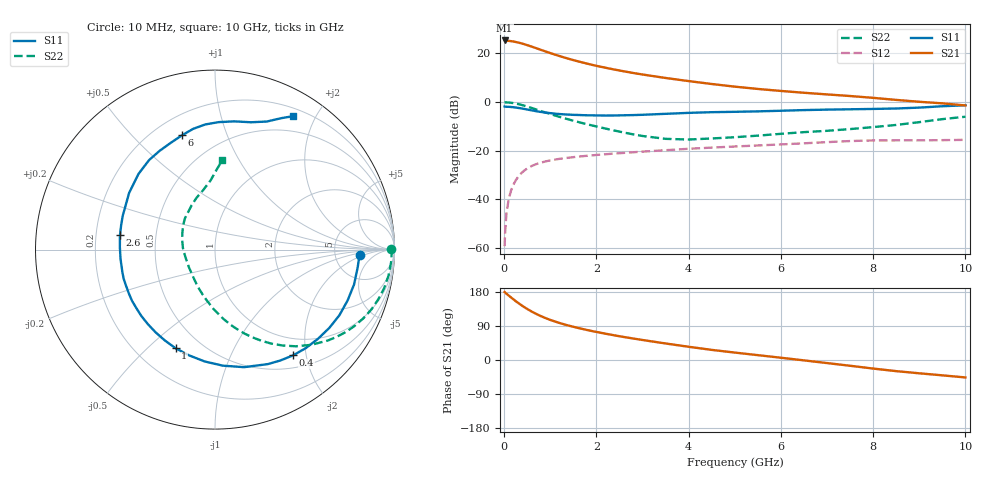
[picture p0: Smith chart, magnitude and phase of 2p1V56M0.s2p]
! (c) 2009  Infineon Technologies AG, Munich
! Infineon Technologies  Discrete & RF Semiconductors
! BFP420
! VCE =  1.5 V,  IC =  6.0 mA
! Common Emitter S-Parameters:  Nov 2009
# GHz  S  MA  R  50
!  f  S11  S21  S12  S22
! GHz  MAG  ANG  MAG  ANG  MAG  ANG  MAG  ANG
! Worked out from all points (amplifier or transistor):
!   46 points, 10 MHz to 10 GHz, reference 50 ohm
!   highest |S21| = 25.3 dB at 10 MHz (marker M1)
!   |S21| within 3 dB of that: start of sweep to 668.5 MHz
!   unconditionally stable (mu >= 1): 2.786 GHz to end of sweep
!   at 300 MHz: K = 0.12, MSG = 27.6 dB, |S12| = -30.8 dB
!   at 1.7 GHz: K = 0.66, MSG = 19.2 dB, |S12| = -22.2 dB
!   at 10 GHz: K = 1.11, MAG = 5.1 dB, |S12| = -15.5 dB
!   lowest NFmin = 0.70 dB at 900 MHz
!   S11 on the Smith chart (normalised r, x): 10 MHz: 9.18, -1.73; 400 MHz: 0.70, -1.77; 1 GHz: 0.36, -0.62; 2.6 GHz: 0.30, +0.07; 6 GHz: 0.31, +0.70; 10 GHz: 0.30, +1.70
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0.01  0.8098 -2.3  18.39 179.3  0.0011 82.8  0.9792 0.3
0.02  0.8046 -2.9  18 178.2  0.002 87.7  0.9844 -1.6
0.05  0.8011 -7.1  18.05 174.9  0.0052 85.7  0.9837 -4.2
0.15  0.7913 -21.0  17.81 165.0  0.0153 79.6  0.9664 -12.9
0.25  0.7721 -34.4  17.1 155.4  0.0246 72.8  0.9326 -21.0
0.3  0.7589 -41.0  16.73 150.9  0.0289 69.6  0.9108 -24.9
0.4  0.7325 -53.5  15.78 142.5  0.0367 63.8  0.8614 -32.2
0.5  0.7027 -65.2  14.75 134.7  0.0433 58.6  0.8079 -38.8
0.6  0.6748 -76.1  13.71 127.6  0.0488 54.1  0.7543 -44.7
0.8  0.626 -95.2  11.76 115.6  0.0572 47.2  0.654 -54.8
1  0.592 -111.7  10.14 105.8  0.0634 42.0  0.5681 -63.2
1.3  0.559 -131.9  8.237 94.1  0.0703 36.7  0.467 -73.7
1.7  0.5384 -153.3  6.489 81.8  0.0773 32.2  0.3695 -85.6
2.2  0.5289 -174.3  5.056 69.3  0.0849 28.4  0.2854 -99.5
2.6  0.5355 171.4  4.269 60.6  0.0905 25.7  0.2362 -112.0
3.5  0.5735 146.5  3.121 43.6  0.1027 20.7  0.1757 -145.7
4.5  0.6195 126.3  2.348 26.7  0.1162 14.7  0.1789 177.3
5.5  0.6438 112.6  1.859 12.8  0.1284 9.1  0.2044 153.0
6  0.6629 106.1  1.691 6.0  0.135 6.2  0.2228 142.9
7  0.6995 94.4  1.435 -8.1  0.1504 -0.9  0.2568 125.7
8.5  0.7373 74.2  1.107 -29.4  0.1636 -15.3  0.339 101.0
10  0.8595 59.8  0.852 -46.0  0.1676 -24.6  0.4998 85.3
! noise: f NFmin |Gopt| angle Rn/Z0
0.9  0.7  0.16  29  0.14
1.8  1.08  0.06  113  0.12
2.4  1.17  0.11  132  0.13
3  1.26  0.17  176  0.11
4  1.43  0.31  -139  0.13
5  1.82  0.38  -115  0.24
6  2.3  0.43  -99  0.37
